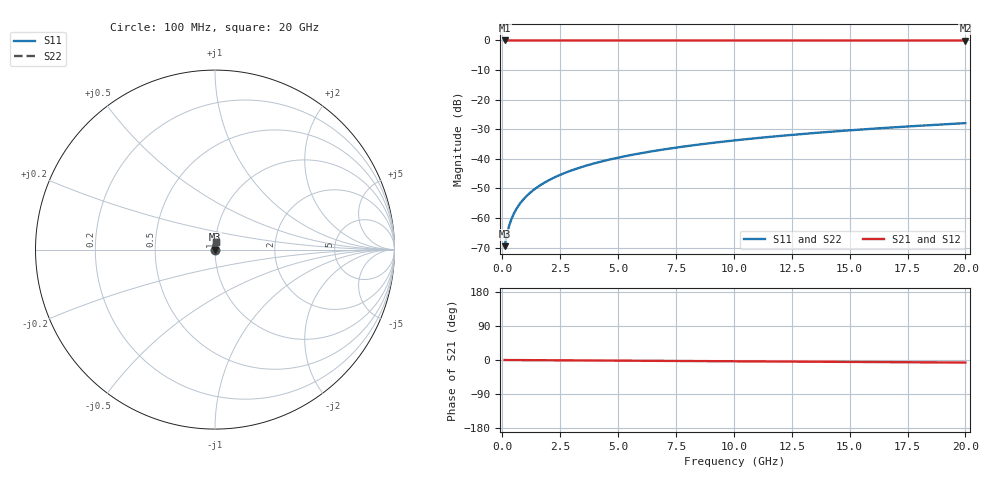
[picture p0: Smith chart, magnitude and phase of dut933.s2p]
! Touchstone file exported from HFSS 2026.1.0
!  File:  C:/ffzhzh/LocalFiles/Ansys_Project_Files/temp_train_TSV_933_1783186865_51560.aedt
!  Generated:  01:42:37 AM Jul  5, 2026
!  Design:  TSV
!  Project:  temp_train_TSV_933_1783186865_51560
! Variables:
!  h_bsmrdl = 2um
!  h_ox = 20um
!  h_rdl = 5um
!  h_sub = 60.28um
!  h_tmrdl = 5um
!  h_tsv = 60.28um
!  h_via = 3um
!  l_bsmrdl = 300um
!  l_sub = 411.72um
!  l_tmrdl = 200um
!  m_sub = 200um
!  pitch = 37.88um
!  r_tsv = 5.86um
!  s_tmrdl = 10um
!  w_bsmrdl = 18um
!  w_sub = 500um
!  w_tmrdl = 12um
!  x_tsv_center1 = 206um
!  x_tsv_center2 = 524um
!  x_tsv_center3 = 736um
!  x_tsv_center4 = 1054um
!  x_tsv_center5 = 1266um
!  x_tsv_center6 = 1584um
# GHz S MA R 50.000000
! Terminal data exported
! Port[1] = TSV1_1_T1
! Port[2] = TSV1_1_T2
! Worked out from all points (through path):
!   200 points, 100 MHz to 20 GHz, reference 50 ohm
!   highest |S21| = 0.00 dB at 100 MHz (marker M1); lowest = 0.0 dB at 20 GHz (marker M2)
!   lowest |S11| = -69.5 dB at 100 MHz (marker M3), VSWR 1.00, Z = 50 + j0.0238 ohm
!   |S11| at or under -10 dB: start of sweep to end of sweep
!   |S22| runs from -69.5 to -27.9 dB; largest |S21 - S12| = 2.2e-15
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0.1  0.0003358 45.1  0.9998 -0.0  0.9998 -0.0  0.0003358 45.1
! Gamma 0 0 0 0
! Port Impedance 50 0 50 0
0.2  0.000534 62.4  0.9998 -0.1  0.9998 -0.1  0.000534 62.4
0.3  0.0007518 69.6  0.9997 -0.1  0.9997 -0.1  0.0007518 69.6
0.4  0.0009723 73.3  0.9997 -0.1  0.9997 -0.1  0.0009723 73.3
0.5  0.001191 75.5  0.9997 -0.2  0.9997 -0.2  0.001191 75.5
0.6  0.001408 77.0  0.9997 -0.2  0.9997 -0.2  0.001408 77.0
0.7  0.001622 78.0  0.9997 -0.2  0.9997 -0.2  0.001622 78.0
0.8  0.001834 78.9  0.9997 -0.3  0.9997 -0.3  0.001834 78.9
1  0.002255 80.2  0.9996 -0.3  0.9996 -0.3  0.002255 80.2
1.4  0.003092 81.8  0.9996 -0.5  0.9996 -0.5  0.003092 81.8
1.7  0.003717 82.5  0.9995 -0.6  0.9995 -0.6  0.003717 82.5
2  0.004341 83.1  0.9995 -0.7  0.9995 -0.7  0.004341 83.1
2.7  0.005793 83.8  0.9994 -0.9  0.9994 -0.9  0.005793 83.8
3.5  0.007438 84.1  0.9994 -1.2  0.9994 -1.2  0.007438 84.1
4.2  0.008867 84.2  0.9993 -1.4  0.9993 -1.4  0.008867 84.2
5  0.01049 84.2  0.9992 -1.7  0.9992 -1.7  0.01049 84.2
6.8  0.0141 84.1  0.999 -2.3  0.999 -2.3  0.0141 84.1
8.3  0.01709 83.9  0.9989 -2.8  0.9989 -2.8  0.01709 83.9
10.1  0.02067 83.6  0.9987 -3.4  0.9987 -3.4  0.02067 83.6
13.4  0.0272 82.9  0.9984 -4.5  0.9984 -4.5  0.0272 82.9
16.7  0.0337 82.1  0.9981 -5.6  0.9981 -5.6  0.0337 82.1
20  0.04015 81.2  0.9977 -6.7  0.9977 -6.7  0.04015 81.2
